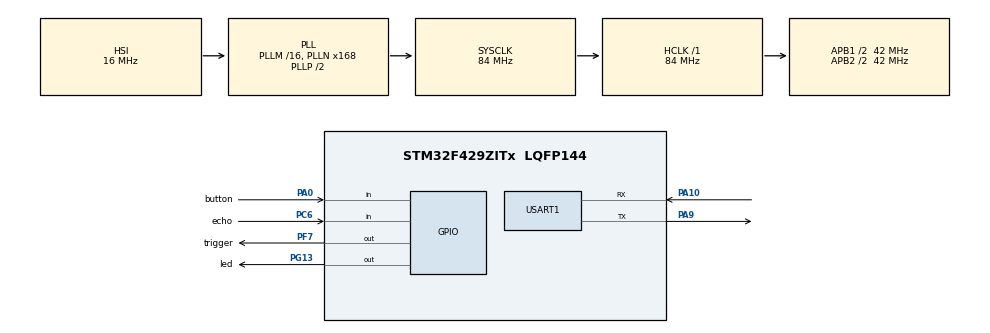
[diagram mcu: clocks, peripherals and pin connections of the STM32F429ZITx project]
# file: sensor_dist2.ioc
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Mcu.Family=STM32F4
Mcu.Name=STM32F429ZITx
Mcu.Package=LQFP144
NVIC.PriorityGroup=NVIC_PRIORITYGROUP_4
PA0/WKUP.GPIO_Label=button
PA0/WKUP.Signal=GPIO_Input
PA10.Mode=Asynchronous
PA10.Signal=USART1_RX
PA9.Mode=Asynchronous
PA9.Signal=USART1_TX
PC6.GPIO_Label=echo
PC6.Signal=GPIO_Input
PF7.GPIO_Label=trigger
PF7.Signal=GPIO_Output
PG13.GPIO_Label=led
PG13.Signal=GPIO_Output
ProjectManager.HeapSize=0x200
ProjectManager.StackSize=0x400
ProjectManager.TargetToolchain=MDK-ARM V5
RCC.48MHZClocksFreq_Value=42000000
RCC.AHBFreq_Value=84000000
RCC.APB1CLKDivider=RCC_HCLK_DIV2
RCC.APB1Freq_Value=42000000
RCC.APB1TimFreq_Value=84000000
RCC.APB2CLKDivider=RCC_HCLK_DIV2
RCC.APB2Freq_Value=42000000
RCC.APB2TimFreq_Value=84000000
RCC.CortexFreq_Value=84000000
RCC.HCLKFreq_Value=84000000
RCC.HSE_VALUE=25000000
RCC.HSI_VALUE=16000000
RCC.LSE_VALUE=32768
RCC.PLLN=168
RCC.SYSCLKFreq_VALUE=84000000
RCC.SYSCLKSource=RCC_SYSCLKSOURCE_PLLCLK
RCC.VCOOutputFreq_Value=168000000
TIM4.Prescaler=83
USART1.VirtualMode=VM_ASYNC
VP_TIM4_VS_ClockSourceINT.Mode=Internal
board=custom

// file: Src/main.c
/* USER CODE BEGIN Header */
/**
  ******************************************************************************
  * @file           : main.c
  * @brief          : Main program body
  ******************************************************************************
  * @attention
  *
  * <h2><center>&copy; Copyright (c) 2020 STMicroelectronics.
  * All rights reserved.</center></h2>
  *
  * This software component is licensed by ST under BSD 3-Clause license,
  * the "License"; You may not use this file except in compliance with the
  * License. You may obtain a copy of the License at:
  *                        opensource.org/licenses/BSD-3-Clause
  *
  ******************************************************************************
  */
/* USER CODE END Header */

#include "main.h"

/* USER CODE BEGIN Includes */
#include <string.h>
#include <stdio.h>
/* USER CODE END Includes */

/* USER CODE BEGIN PTD */
#define usTIM	TIM4
/* USER CODE END PTD */

TIM_HandleTypeDef htim4;

UART_HandleTypeDef huart1;

void SystemClock_Config(void);
static void MX_GPIO_Init(void);
static void MX_TIM4_Init(void);
static void MX_USART1_UART_Init(void);
/* USER CODE BEGIN PFP */
void usDelay(uint32_t uSec);

/* USER CODE END PFP */

/* USER CODE BEGIN 0 */
const float speedOfSound = 0.0343/2;
float distance;

char uartBuf[100];
/* USER CODE END 0 */

int main(void)
{
  /* USER CODE BEGIN 1 */
	uint32_t numTicks = 0;
  /* USER CODE END 1 */

  /* MCU Configuration--------------------------------------------------------*/

  /* Reset of all peripherals, Initializes the Flash interface and the Systick. */
  HAL_Init();

  /* Configure the system clock */
  SystemClock_Config();

  /* Initialize all configured peripherals */
  MX_GPIO_Init();
  MX_TIM4_Init();
  MX_USART1_UART_Init();

  /* Infinite loop */
  while (1)
  {

    /* USER CODE BEGIN 3 */

		HAL_GPIO_WritePin(trigger_GPIO_Port, trigger_Pin, GPIO_PIN_RESET);
		usDelay(3);

		HAL_GPIO_WritePin(trigger_GPIO_Port, trigger_Pin, GPIO_PIN_SET);
		usDelay(10);
		HAL_GPIO_WritePin(trigger_GPIO_Port, trigger_Pin, GPIO_PIN_RESET);

		while(HAL_GPIO_ReadPin(echo_GPIO_Port, echo_Pin) == GPIO_PIN_RESET);

		numTicks = 0;
		while(HAL_GPIO_ReadPin(echo_GPIO_Port, echo_Pin) == GPIO_PIN_SET)
		{
			numTicks++;
			usDelay(2); //2.8usec
		};

		//4. Estimate distance in cm
		distance = (numTicks + 0.0f)*2.8*speedOfSound;

		//5. Print to UART terminal for debugging
		sprintf(uartBuf, "Distance (cm)  = %.1f\r\n", distance);
		HAL_UART_Transmit(&huart1, (uint8_t *)uartBuf, strlen(uartBuf), 100);

		HAL_Delay(1000);
  }
  /* USER CODE END 3 */
}

void SystemClock_Config(void)
{
  RCC_OscInitTypeDef RCC_OscInitStruct = {0};
  RCC_ClkInitTypeDef RCC_ClkInitStruct = {0};

  /** Configure the main internal regulator output voltage
  */
  __HAL_RCC_PWR_CLK_ENABLE();
  __HAL_PWR_VOLTAGESCALING_CONFIG(PWR_REGULATOR_VOLTAGE_SCALE3);
  /** Initializes the CPU, AHB and APB busses clocks
  */
  RCC_OscInitStruct.OscillatorType = RCC_OSCILLATORTYPE_HSI;
  RCC_OscInitStruct.HSIState = RCC_HSI_ON;
  RCC_OscInitStruct.HSICalibrationValue = RCC_HSICALIBRATION_DEFAULT;
  RCC_OscInitStruct.PLL.PLLState = RCC_PLL_ON;
  RCC_OscInitStruct.PLL.PLLSource = RCC_PLLSOURCE_HSI;
  RCC_OscInitStruct.PLL.PLLM = 16;
  RCC_OscInitStruct.PLL.PLLN = 168;
  RCC_OscInitStruct.PLL.PLLP = RCC_PLLP_DIV2;
  RCC_OscInitStruct.PLL.PLLQ = 4;
  if (HAL_RCC_OscConfig(&RCC_OscInitStruct) != HAL_OK)
  {
    Error_Handler();
  }
  /** Initializes the CPU, AHB and APB busses clocks
  */
  RCC_ClkInitStruct.ClockType = RCC_CLOCKTYPE_HCLK|RCC_CLOCKTYPE_SYSCLK
                              |RCC_CLOCKTYPE_PCLK1|RCC_CLOCKTYPE_PCLK2;
  RCC_ClkInitStruct.SYSCLKSource = RCC_SYSCLKSOURCE_PLLCLK;
  RCC_ClkInitStruct.AHBCLKDivider = RCC_SYSCLK_DIV1;
  RCC_ClkInitStruct.APB1CLKDivider = RCC_HCLK_DIV2;
  RCC_ClkInitStruct.APB2CLKDivider = RCC_HCLK_DIV2;

  if (HAL_RCC_ClockConfig(&RCC_ClkInitStruct, FLASH_LATENCY_2) != HAL_OK)
  {
    Error_Handler();
  }
}

static void MX_TIM4_Init(void)
{

  TIM_ClockConfigTypeDef sClockSourceConfig = {0};
  TIM_MasterConfigTypeDef sMasterConfig = {0};

  htim4.Instance = TIM4;
  htim4.Init.Prescaler = 83;
  htim4.Init.CounterMode = TIM_COUNTERMODE_UP;
  htim4.Init.Period = 0;
  htim4.Init.ClockDivision = TIM_CLOCKDIVISION_DIV1;
  htim4.Init.AutoReloadPreload = TIM_AUTORELOAD_PRELOAD_DISABLE;
  if (HAL_TIM_Base_Init(&htim4) != HAL_OK)
  {
    Error_Handler();
  }
  sClockSourceConfig.ClockSource = TIM_CLOCKSOURCE_INTERNAL;
  if (HAL_TIM_ConfigClockSource(&htim4, &sClockSourceConfig) != HAL_OK)
  {
    Error_Handler();
  }
  sMasterConfig.MasterOutputTrigger = TIM_TRGO_RESET;
  sMasterConfig.MasterSlaveMode = TIM_MASTERSLAVEMODE_DISABLE;
  if (HAL_TIMEx_MasterConfigSynchronization(&htim4, &sMasterConfig) != HAL_OK)
  {
    Error_Handler();
  }

}

static void MX_USART1_UART_Init(void)
{

  huart1.Instance = USART1;
  huart1.Init.BaudRate = 115200;
  huart1.Init.WordLength = UART_WORDLENGTH_8B;
  huart1.Init.StopBits = UART_STOPBITS_1;
  huart1.Init.Parity = UART_PARITY_NONE;
  huart1.Init.Mode = UART_MODE_TX_RX;
  huart1.Init.HwFlowCtl = UART_HWCONTROL_NONE;
  huart1.Init.OverSampling = UART_OVERSAMPLING_16;
  if (HAL_UART_Init(&huart1) != HAL_OK)
  {
    Error_Handler();
  }

}

static void MX_GPIO_Init(void)
{
  GPIO_InitTypeDef GPIO_InitStruct = {0};

  /* GPIO Ports Clock Enable */
  __HAL_RCC_GPIOF_CLK_ENABLE();
  __HAL_RCC_GPIOA_CLK_ENABLE();
  __HAL_RCC_GPIOC_CLK_ENABLE();
  __HAL_RCC_GPIOG_CLK_ENABLE();

  /*Configure GPIO pin Output Level */
  HAL_GPIO_WritePin(trigger_GPIO_Port, trigger_Pin, GPIO_PIN_RESET);

  /*Configure GPIO pin Output Level */
  HAL_GPIO_WritePin(led_GPIO_Port, led_Pin, GPIO_PIN_RESET);

  /*Configure GPIO pin : trigger_Pin */
  GPIO_InitStruct.Pin = trigger_Pin;
  GPIO_InitStruct.Mode = GPIO_MODE_OUTPUT_PP;
  GPIO_InitStruct.Pull = GPIO_NOPULL;
  GPIO_InitStruct.Speed = GPIO_SPEED_FREQ_LOW;
  HAL_GPIO_Init(trigger_GPIO_Port, &GPIO_InitStruct);

  /*Configure GPIO pin : button_Pin */
  GPIO_InitStruct.Pin = button_Pin;
  GPIO_InitStruct.Mode = GPIO_MODE_INPUT;
  GPIO_InitStruct.Pull = GPIO_NOPULL;
  HAL_GPIO_Init(button_GPIO_Port, &GPIO_InitStruct);

  /*Configure GPIO pin : echo_Pin */
  GPIO_InitStruct.Pin = echo_Pin;
  GPIO_InitStruct.Mode = GPIO_MODE_INPUT;
  GPIO_InitStruct.Pull = GPIO_NOPULL;
  HAL_GPIO_Init(echo_GPIO_Port, &GPIO_InitStruct);

  /*Configure GPIO pin : led_Pin */
  GPIO_InitStruct.Pin = led_Pin;
  GPIO_InitStruct.Mode = GPIO_MODE_OUTPUT_PP;
  GPIO_InitStruct.Pull = GPIO_NOPULL;
  GPIO_InitStruct.Speed = GPIO_SPEED_FREQ_LOW;
  HAL_GPIO_Init(led_GPIO_Port, &GPIO_InitStruct);

}

/* USER CODE BEGIN 4 */
void usDelay(uint32_t uSec)
{
	if(uSec < 2) uSec = 2;
	usTIM->ARR = uSec - 1; 	/*sets the value in the auto-reload register*/
	usTIM->EGR = 1; 			/*Re-initialises the timer*/
	usTIM->SR &= ~1; 		//Resets the flag
	usTIM->CR1 |= 1; 		//Enables the counter
	while((usTIM->SR&0x0001) != 1);
	usTIM->SR &= ~(0x0001);
}
/* USER CODE END 4 */

void Error_Handler(void)
{
}

/************************ (C) COPYRIGHT STMicroelectronics *****END OF FILE****/
